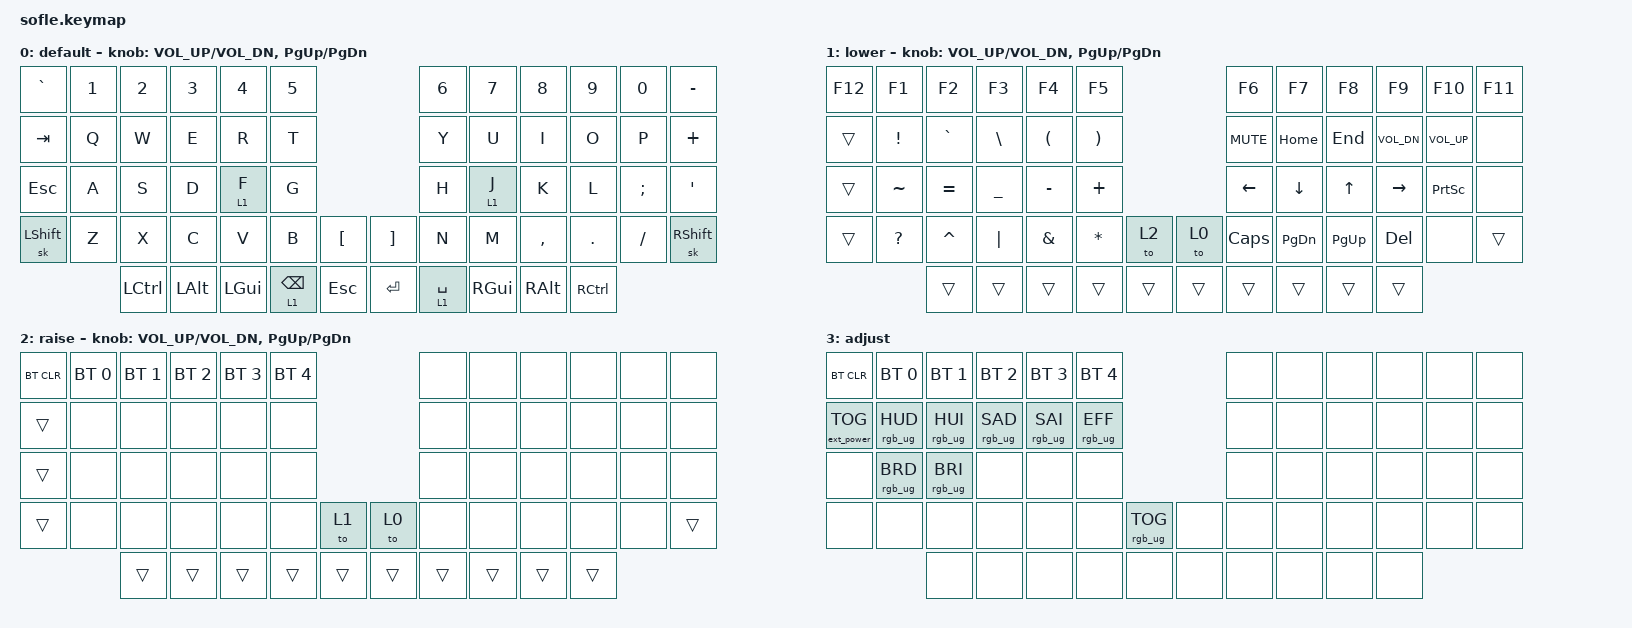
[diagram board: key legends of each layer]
/*
 * Copyright (c) 2020 The ZMK Contributors
 *
 * SPDX-License-Identifier: MIT
 */

#include <behaviors.dtsi>
#include <dt-bindings/zmk/keys.h>
#include <dt-bindings/zmk/bt.h>
#include <dt-bindings/zmk/rgb.h>
#include <dt-bindings/zmk/ext_power.h>

#define BASE 0
#define LOWER 1
#define RAISE 2
#define ADJUST 3

/ {

   // Activate ADJUST layer by pressing raise and lower
    conditional_layers {
        compatible = "zmk,conditional-layers";
        adjust_layer {
            if-layers = <LOWER RAISE>;
            then-layer = <ADJUST>;
        };
    };

    lt {
      flavor = "tap-preferred";
      tapping-term-ms = <200>;
    };

    keymap {
        compatible = "zmk,keymap";

        default_layer {
            display-name = "default";
// ------------------------------------------------------------------------------------------------------------
// |   `   |  1  |  2  |  3   |  4   |  5   |                   |  6   |  7    |  8    |  9   |   0   |   -   |
// |  TAB  |  Q  |  W  |  E   |  R   |  T   |                   |  Y   |  U    |  I    |  O   |   P   |   +   |
// |  ESC  |  A  |  S  |  D   |  F   |  G   |                   |  H   |  J    |  K    |  L   |   ;   |   '   |
// | SHIFT |  Z  |  X  |  C   |  V   |  B   |    [   |  |   ]   |  N   |  M    |  ,    |  .   |   /   | SHIFT |
//               | CTRL | ALT  | GUI | BKSPC|   ESC  |  | ENTER | SPACE| GUI  | ALT   | CTRL  |
            bindings = <
&kp GRAVE &kp N1 &kp N2    &kp N3   &kp N4      &kp N5                             &kp N6       &kp N7    &kp N8    &kp N9   &kp N0    &kp MINUS
&kp TAB   &kp Q  &kp W     &kp E    &kp R       &kp T                              &kp Y        &kp U     &kp I     &kp O    &kp P     &kp PLUS
&kp ESC   &kp A  &kp S     &kp D    &lt 1 F     &kp G                              &kp H        &lt 1 J   &kp K     &kp L    &kp SEMI  &kp SQT
&sk LSHFT &kp Z  &kp X     &kp C    &kp V       &kp B        &kp LBKT   &kp RBKT   &kp N        &kp M     &kp COMMA &kp DOT  &kp FSLH  &sk RSHFT
                 &kp LCTRL &kp LALT &kp LGUI    &lt 1 BSPC   &kp ESC    &kp ENTER  &lt 1 SPACE  &kp RGUI  &kp RALT  &kp RCTRL
            >;

            sensor-bindings = <&inc_dec_kp C_VOL_UP C_VOL_DN &inc_dec_kp PG_UP PG_DN>;
        };

        lower_layer {
            display-name = "lower";
// TODO: Some binds are waiting for shifted keycode support.
// ------------------------------------------------------------------------------------------------------------
// |   F12 |  F1 |  F2 |  F3  |  F4  |  F5  |                   |  F6  |  F7   |  F8  |  F9 |  F10 |  F11  |
// |       |  !  |  `  |  \   |  (   |  )   |                   | MUTE | HOME  | END  |  C_VOL_DN  | C_VOL_UP |    |
// |       |  ~  |  =  |  _   |  -   |  +   |                   | <-   |  V    |  ^   | -> | PSCRN |    |     |
// |       |  ?  |  ^  |  |   |  &   | *    |    2   |  |   0   | CAPS |  PGDN|  PGUP| DEL |       |    |
//               |     |      |      |      |        |  |       |      |      |      |     |
            bindings = <
&kp F12   &kp F1    &kp F2     &kp F3      &kp F4    &kp F5                   &kp F6    &kp F7    &kp F8    &kp F9    &kp F10  &kp F11
&trans    &kp EXCL  &kp GRAVE  &kp BSLH    &kp LPAR  &kp RPAR                 &kp C_MUTE &kp HOME  &kp END   &kp C_VOL_DN &kp C_VOL_UP &none
&trans    &kp TILDE  &kp EQUAL  &kp UNDER   &kp MINUS &kp PLUS                 &kp LEFT  &kp DOWN  &kp UP    &kp RIGHT &kp PSCRN    &none
&trans    &kp QMARK  &kp CARET  &kp PIPE    &kp AMPS  &kp STAR     &to 2  &to 0  &kp CAPSLOCK   &kp PG_DN &kp PG_UP &kp DEL     &none    &trans
                    &trans     &trans   &trans    &trans  &trans   &trans  &trans  &trans   &trans    &trans
            >;

            sensor-bindings = <&inc_dec_kp C_VOL_UP C_VOL_DN &inc_dec_kp PG_UP PG_DN>;
        };

        raise_layer {
            display-name = "raise";
// ------------------------------------------------------------------------------------------------------------
// | BTCLR | BT1  | BT2  |  BT3  |  BT4  |  BT5 |                |      |      |       |      |       |       |
// |       |      |      |       |       |      |                |      |      |       |      |       |       |
// |       |      |      |       |       |      |         |      |      |      |       |      |       |
// |       |      |      |       |       |      |   1  |  |  0   |      |      |       |      |       |       |
//                |      |       |       |      |      |  |      |      |      |       |      |
            bindings = <
&bt BT_CLR &bt BT_SEL 0 &bt BT_SEL 1 &bt BT_SEL 2 &bt BT_SEL 3 &bt BT_SEL 4                  &none  &none      &none  &none   &none  &none
&trans     &none        &none        &none        &none        &none                         &none  &none      &none  &none   &none  &none
&trans     &none        &none        &none        &none        &none                         &none  &none      &none  &none   &none  &none 
&trans     &none        &none        &none        &none        &none       &to 1  &to 0      &none  &none      &none  &none   &none  &trans
                        &trans       &trans       &trans       &trans      &trans  &trans  &trans    &trans    &trans   &trans
            >;

            sensor-bindings = <&inc_dec_kp C_VOL_UP C_VOL_DN &inc_dec_kp PG_UP PG_DN>;
        };

        adjust_layer {
// ----------------------------------------------------------------------------------------------------------------------------
// | BTCLR  |  BT1    |  BT2    |   BT3   |   BT4   |   BT5   |                  |      |      |       |      |       |       |
// | EXTPWR | RGB_HUD | RGB_HUI | RGB_SAD | RGB_SAI | RGB_EFF |                  |      |      |       |      |       |       |
// |        | RGB_BRD | RGB_BRI |         |         |         |                  |      |      |       |      |       |       |
// |        |         |         |         |         |         | RGB_TOG | |      |      |      |       |      |       |       |
//                    |         |         |         |         |         | |      |      |      |       |      |
            display-name = "adjust";
            bindings = <
&bt BT_CLR        &bt BT_SEL 0    &bt BT_SEL 1    &bt BT_SEL 2    &bt BT_SEL 3    &bt BT_SEL 4                            &none &none &none &none &none &none
&ext_power EP_TOG &rgb_ug RGB_HUD &rgb_ug RGB_HUI &rgb_ug RGB_SAD &rgb_ug RGB_SAI &rgb_ug RGB_EFF                         &none &none &none &none &none &none
&none             &rgb_ug RGB_BRD &rgb_ug RGB_BRI &none           &none           &none                                   &none &none &none &none &none &none
&none             &none           &none           &none           &none           &none            &rgb_ug RGB_TOG &none  &none &none &none &none &none &none
                                  &none           &none           &none           &none            &none           &none  &none &none &none &none
            >;
        };

    };
};
